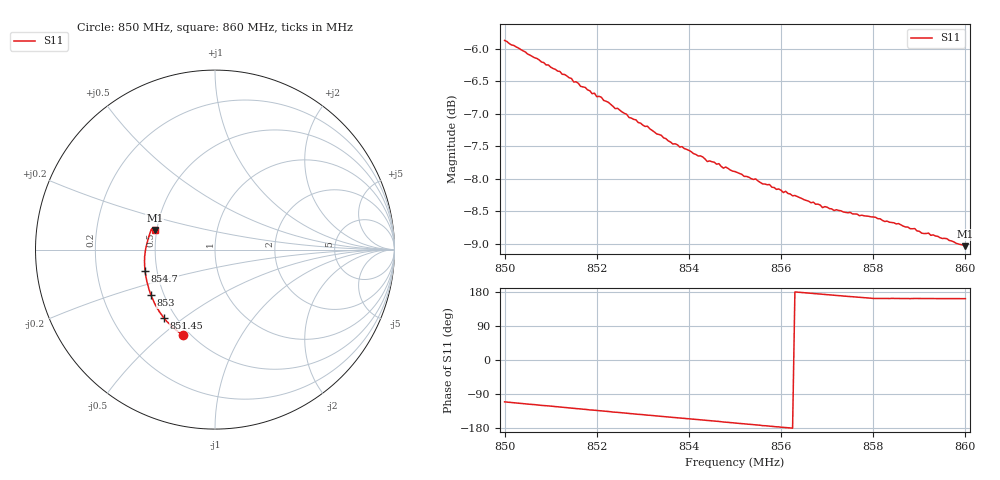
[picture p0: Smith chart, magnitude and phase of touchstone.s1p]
# HZ S RI R 50
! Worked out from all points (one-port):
!   201 points, 850 MHz to 860 MHz, reference 50 ohm
!   lowest |S11| = -9.0 dB at 860 MHz (marker M1), VSWR 2.09, Z = 24.4 + j6.12 ohm
!   |S11| at or under -10 dB: nowhere
!   S11 on the Smith chart (normalised r, x): 850 MHz: 0.46, -0.59; 851.45 MHz: 0.43, -0.42; 853 MHz: 0.42, -0.27; 854.7 MHz: 0.43, -0.12; 860 MHz: 0.49, +0.12
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8.5e8  -0.1778 -0.4767
8.5055e8  -0.2246 -0.4419
8.5095e8  -0.2518 -0.417
8.5125e8  -0.2724 -0.3942
8.5145e8  -0.2851 -0.3807
8.518e8  -0.3049 -0.3525
8.5185e8  -0.3103 -0.3468
8.519e8  -0.3098 -0.344
8.5225e8  -0.3272 -0.3176
8.5235e8  -0.3334 -0.3064
8.525e8  -0.338 -0.2967
8.53e8  -0.3561 -0.2548
8.5375e8  -0.3757 -0.1941
8.5425e8  -0.3848 -0.1546
8.544e8  -0.3845 -0.1438
8.5465e8  -0.3893 -0.1254
8.547e8  -0.3893 -0.1189
8.55e8  -0.3917 -0.0963
8.555e8  -0.3923 -0.0582
8.556e8  -0.3918 -0.0467
8.5575e8  -0.3922 -0.0389
8.5625e8  -0.3863 -0.00103
8.568e8  -0.3787 0.0389
8.5685e8  -0.378 0.0398
8.575e8  -0.3664 0.0808
8.58e8  -0.3547 0.1126
8.5875e8  -0.3481 0.1116
8.6e8  -0.3358 0.11
